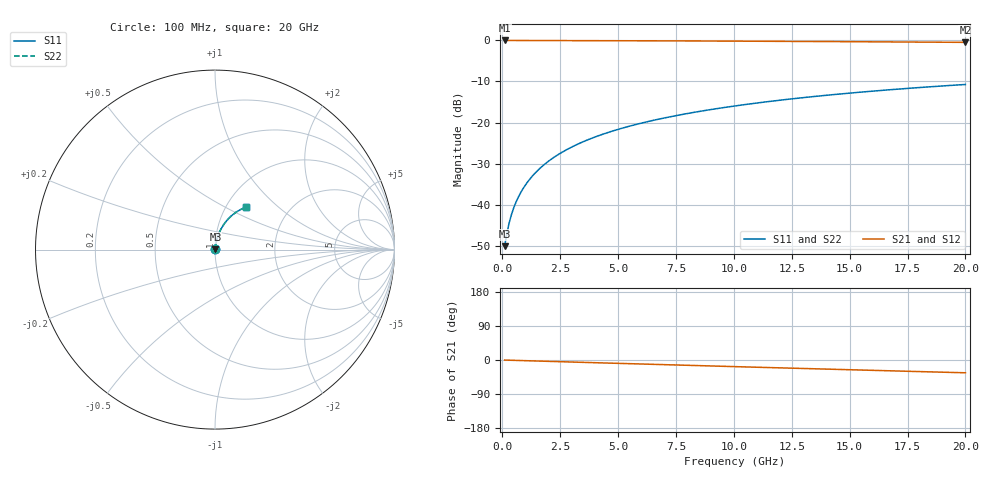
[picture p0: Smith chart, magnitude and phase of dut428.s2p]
! Touchstone file exported from HFSS 2026.1.0
!  File:  C:/ffzhzh/LocalFiles/Ansys_Project_Files/temp_train_BSMRDL_428_1783012857_51716.aedt
!  Generated:  01:22:19 AM Jul  3, 2026
!  Design:  BSMRDL
!  Project:  temp_train_BSMRDL_428_1783012857_51716
! Variables:
!  h_bsmrdl = 4.36um
!  h_ox = 20um
!  h_rdl = 5um
!  h_sub = 80um
!  h_tmrdl = 5um
!  h_tsv = 80um
!  h_via = 3um
!  l_bsmrdl = 507.67um
!  l_sub = 907.67um
!  l_tmrdl = 200um
!  m_sub = 200um
!  pitch = 36.61um
!  r_tsv = 6um
!  s_tmrdl = 10um
!  w_bsmrdl = 17.29um
!  w_sub = 500um
!  w_tmrdl = 12um
!  x_tsv_center1 = 206um
!  x_tsv_center2 = 730.96um
!  x_tsv_center3 = 942.96um
!  x_tsv_center4 = 1467.92um
!  x_tsv_center5 = 1679.92um
!  x_tsv_center6 = 2204.88um
# GHz S MA R 50.000000
! Terminal data exported
! Port[1] = BSM_RDL1_1_T1
! Port[2] = BSM_RDL1_1_T2
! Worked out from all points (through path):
!   200 points, 100 MHz to 20 GHz, reference 50 ohm
!   highest |S21| = -0.02 dB at 100 MHz (marker M1); lowest = -0.5 dB at 20 GHz (marker M2)
!   group delay of S21, straight-line fit = 4.68 ps
!   lowest |S11| = -50.1 dB at 100 MHz (marker M3), VSWR 1.01, Z = 50.3 + j0.187 ohm
!   |S11| at or under -10 dB: start of sweep to end of sweep
!   |S22| runs from -50.1 to -10.7 dB; largest |S21 - S12| = 4e-15
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0.1  0.00314 36.2  0.9975 -0.2  0.9975 -0.2  0.00314 36.2
! Gamma 0 0 0 0
! Port Impedance 50 0 50 0
0.2  0.004521 54.0  0.9974 -0.4  0.9974 -0.4  0.004521 54.0
0.3  0.006081 62.5  0.9972 -0.6  0.9972 -0.6  0.00608 62.5
0.4  0.007676 67.3  0.9971 -0.7  0.9971 -0.7  0.007675 67.3
0.5  0.009282 70.5  0.997 -0.9  0.997 -0.9  0.009281 70.5
0.6  0.0109 72.8  0.9969 -1.1  0.9969 -1.1  0.01089 72.8
0.8  0.01415 75.8  0.9968 -1.5  0.9968 -1.5  0.01415 75.8
1.1  0.01908 78.2  0.9966 -2.0  0.9966 -2.0  0.01908 78.2
1.3  0.02238 79.1  0.9965 -2.3  0.9965 -2.3  0.02238 79.1
1.6  0.02735 79.9  0.9962 -2.9  0.9962 -2.9  0.02735 79.9
2.1  0.03564 80.3  0.9957 -3.8  0.9957 -3.8  0.03564 80.3
2.7  0.04554 80.2  0.995 -4.8  0.995 -4.8  0.04554 80.2
3.5  0.05863 79.4  0.9939 -6.3  0.9939 -6.3  0.05863 79.4
4.2  0.06995 78.5  0.9927 -7.5  0.9927 -7.5  0.06995 78.5
5  0.08271 77.4  0.9912 -8.9  0.9912 -8.9  0.08271 77.4
5.9  0.09687 76.0  0.9893 -10.4  0.9893 -10.4  0.09687 76.0
6.8  0.1108 74.6  0.9873 -12.0  0.9873 -12.0  0.1108 74.6
8.3  0.1336 72.3  0.9837 -14.6  0.9837 -14.6  0.1336 72.3
10.1  0.1601 69.5  0.9789 -17.6  0.9789 -17.6  0.1601 69.5
13.4  0.2067 64.3  0.969 -23.1  0.969 -23.1  0.2067 64.3
16.7  0.2504 59.2  0.9579 -28.5  0.9579 -28.5  0.2504 59.2
20  0.2908 54.1  0.9459 -33.7  0.9459 -33.7  0.2908 54.1
